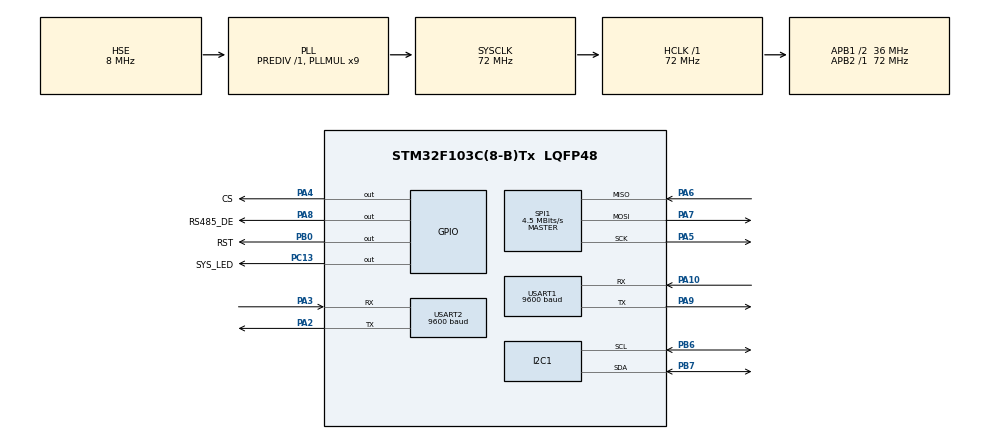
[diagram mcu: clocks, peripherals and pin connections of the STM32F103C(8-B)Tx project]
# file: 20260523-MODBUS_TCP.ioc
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Dma.Request0=USART1_RX
Dma.USART1_RX.0.Direction=DMA_PERIPH_TO_MEMORY
Dma.USART1_RX.0.Instance=DMA1_Channel5
Dma.USART1_RX.0.MemDataAlignment=DMA_MDATAALIGN_BYTE
Dma.USART1_RX.0.MemInc=DMA_MINC_ENABLE
Dma.USART1_RX.0.Mode=DMA_CIRCULAR
Dma.USART1_RX.0.PeriphDataAlignment=DMA_PDATAALIGN_BYTE
Dma.USART1_RX.0.PeriphInc=DMA_PINC_DISABLE
Dma.USART1_RX.0.Priority=DMA_PRIORITY_LOW
FREERTOS.Tasks01=defaultTask,0,128,StartDefaultTask,Default,NULL,Dynamic,NULL,NULL
FREERTOS.configUSE_NEWLIB_REENTRANT=1
I2C1.I2C_Mode=I2C_Fast
Mcu.Family=STM32F1
Mcu.Name=STM32F103C(8-B)Tx
Mcu.Package=LQFP48
NVIC.DMA1_Channel5_IRQn=true\:5\:0\:false\:false\:true\:true\:false\:true\:true
NVIC.PriorityGroup=NVIC_PRIORITYGROUP_4
NVIC.TIM4_IRQn=true\:15\:0\:false\:false\:true\:false\:false\:true\:true
NVIC.TimeBase=TIM4_IRQn
NVIC.TimeBaseIP=TIM4
NVIC.USART1_IRQn=true\:5\:0\:false\:false\:true\:true\:true\:true\:true
PA10.Mode=Asynchronous
PA10.Signal=USART1_RX
PA13.Mode=Serial_Wire
PA13.Signal=SYS_JTMS-SWDIO
PA14.Mode=Serial_Wire
PA14.Signal=SYS_JTCK-SWCLK
PA2.Mode=Asynchronous
PA2.Signal=USART2_TX
PA3.Mode=Asynchronous
PA3.Signal=USART2_RX
PA4.GPIO_Label=CS
PA4.GPIO_Speed=GPIO_SPEED_FREQ_HIGH
PA4.Signal=GPIO_Output
PA5.Mode=Full_Duplex_Master
PA5.Signal=SPI1_SCK
PA6.Mode=Full_Duplex_Master
PA6.Signal=SPI1_MISO
PA7.Mode=Full_Duplex_Master
PA7.Signal=SPI1_MOSI
PA8.GPIO_Label=RS485_DE
PA8.Signal=GPIO_Output
PA9.Mode=Asynchronous
PA9.Signal=USART1_TX
PB0.GPIO_Label=RST
PB0.Signal=GPIO_Output
PB6.Mode=I2C
PB6.Signal=I2C1_SCL
PB7.Mode=I2C
PB7.Signal=I2C1_SDA
PC13-TAMPER-RTC.GPIO_Label=SYS_LED
PC13-TAMPER-RTC.Signal=GPIO_Output
PD0-OSC_IN.Mode=HSE-External-Oscillator
PD0-OSC_IN.Signal=RCC_OSC_IN
PD1-OSC_OUT.Mode=HSE-External-Oscillator
PD1-OSC_OUT.Signal=RCC_OSC_OUT
ProjectManager.HeapSize=0x200
ProjectManager.StackSize=0x400
ProjectManager.TargetToolchain=STM32CubeIDE
RCC.AHBFreq_Value=72000000
RCC.APB1CLKDivider=RCC_HCLK_DIV2
RCC.APB1Freq_Value=36000000
RCC.APB1TimFreq_Value=72000000
RCC.APB2Freq_Value=72000000
RCC.APB2TimFreq_Value=72000000
RCC.HCLKFreq_Value=72000000
RCC.PLLMUL=RCC_PLL_MUL9
RCC.PLLSourceVirtual=RCC_PLLSOURCE_HSE
RCC.SYSCLKFreq_VALUE=72000000
RCC.SYSCLKSource=RCC_SYSCLKSOURCE_PLLCLK
RCC.USBFreq_Value=72000000
SPI1.BaudRatePrescaler=SPI_BAUDRATEPRESCALER_16
SPI1.CalculateBaudRate=4.5 MBits/s
SPI1.Direction=SPI_DIRECTION_2LINES
SPI1.Mode=SPI_MODE_MASTER
SPI1.VirtualType=VM_MASTER
USART1.BaudRate=9600
USART1.VirtualMode=VM_ASYNC
USART2.BaudRate=9600
USART2.VirtualMode=VM_ASYNC
VP_FREERTOS_VS_CMSIS_V1.Mode=CMSIS_V1
VP_SYS_VS_tim4.Mode=TIM4
board=custom

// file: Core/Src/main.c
/* USER CODE BEGIN Header */
/**
  ******************************************************************************
  * @file           : main.c
  * @brief          : Main program body
  ******************************************************************************
  * @attention
  *
  * Copyright (c) 2023 STMicroelectronics.
  * All rights reserved.
  *
  * This software is licensed under terms that can be found in the LICENSE file
  * in the root directory of this software component.
  * If no LICENSE file comes with this software, it is provided AS-IS.
  *
  ******************************************************************************
  */
/* USER CODE END Header */
#include "main.h"
#include "cmsis_os.h"

/* USER CODE BEGIN Includes */
#include <stdio.h>
#include "FreeRTOS.h"
#include "task.h"
#include "semphr.h"
#include "app_tasks.h"
#include "fonts.h"
#include "ssd1306.h"

/* ioLibrary — Ethernet core */
#include "wizchip_conf.h"   // ctlwizchip, ctlnetwork
#include "socket.h"         // socket, listen, recv, send, close, getSn_SR, getSn_RX_RSR

/* Tu port layer */
#include "w5500_port.h"     // w5500_port_init

#include "modbus_crc.h"
#include "modbus_registers.h"
#include "modbus_uart.h"
#include "spfd5408.h"

/* USER CODE END Includes */

I2C_HandleTypeDef hi2c1;

SPI_HandleTypeDef hspi1;

UART_HandleTypeDef huart1;
UART_HandleTypeDef huart2;
DMA_HandleTypeDef hdma_usart1_rx;

osThreadId defaultTaskHandle;
/* USER CODE BEGIN PV */
SemaphoreHandle_t g_uart_mutex;
/* USER CODE END PV */

void SystemClock_Config(void);
static void MX_GPIO_Init(void);
static void MX_DMA_Init(void);
static void MX_USART2_UART_Init(void);
static void MX_I2C1_Init(void);
static void MX_SPI1_Init(void);
static void MX_USART1_UART_Init(void);
void StartDefaultTask(void const * argument);

/* USER CODE BEGIN PFP */
#define PUTCHAR_PROTOTYPE int __io_putchar(int ch)

/* USER CODE END PFP */

int main(void)
{

  /* MCU Configuration--------------------------------------------------------*/

  /* Reset of all peripherals, Initializes the Flash interface and the Systick. */
  HAL_Init();

  /* Configure the system clock */
  SystemClock_Config();

  /* Initialize all configured peripherals */
  MX_GPIO_Init();
  MX_DMA_Init();
  MX_USART2_UART_Init();
  MX_I2C1_Init();
  MX_SPI1_Init();
  MX_USART1_UART_Init();
  /* USER CODE BEGIN 2 */

  for(uint8_t i = 1; i <= 10; i++)
  {
	  HAL_GPIO_TogglePin(GPIOC, GPIO_PIN_13);
	  HAL_Delay(100);
  }

  HAL_GPIO_WritePin(CS_GPIO_Port, CS_Pin, GPIO_PIN_SET);
  HAL_GPIO_WritePin(RST_GPIO_Port, RST_Pin, GPIO_PIN_SET);

  w5500_port_init();

  uint8_t ver = getVERSIONR();
  if(ver != 0x04) Error_Handler();

  // Parpadeá ver veces para ver qué valor devuelve
  for(uint8_t i = 0; i < ver; i++)
  {
      HAL_GPIO_TogglePin(GPIOC, GPIO_PIN_13);
      HAL_Delay(300);
      HAL_GPIO_TogglePin(GPIOC, GPIO_PIN_13);
      HAL_Delay(300);
  }

  HAL_Delay(2000);  // pausa para distinguir el resultado

//
//  while(1)
//  {
//      if(getSn_SR(0) == SOCK_ESTABLISHED)
//      {
//          uint16_t len = getSn_RX_RSR(0);  // bytes disponibles
//          if(len > 0)
//          {
//              uint8_t buf[128];
//              recv(0, buf, len);
//              // acá va el parseo Modbus — por ahora solo eco
//              send(0, buf, len);
//          }
//      }
//      HAL_Delay(10);
//  }

  /* USER CODE END 2 */

  /* Create the thread(s) */
  /* definition and creation of defaultTask */
//  osThreadDef(defaultTask, StartDefaultTask, osPriorityNormal, 0, 128);
//  defaultTaskHandle = osThreadCreate(osThread(defaultTask), NULL);

  /* USER CODE BEGIN RTOS_THREADS */
  tasks_create();

  /* USER CODE END RTOS_THREADS */

  /* Start scheduler */
  vTaskStartScheduler();

  /* We should never get here as control is now taken by the scheduler */

  /* Infinite loop */
  while (1)
  {

  }
}

void SystemClock_Config(void)
{
  RCC_OscInitTypeDef RCC_OscInitStruct = {0};
  RCC_ClkInitTypeDef RCC_ClkInitStruct = {0};

  /** Initializes the RCC Oscillators according to the specified parameters
  * in the RCC_OscInitTypeDef structure.
  */
  RCC_OscInitStruct.OscillatorType = RCC_OSCILLATORTYPE_HSE;
  RCC_OscInitStruct.HSEState = RCC_HSE_ON;
  RCC_OscInitStruct.HSEPredivValue = RCC_HSE_PREDIV_DIV1;
  RCC_OscInitStruct.HSIState = RCC_HSI_ON;
  RCC_OscInitStruct.PLL.PLLState = RCC_PLL_ON;
  RCC_OscInitStruct.PLL.PLLSource = RCC_PLLSOURCE_HSE;
  RCC_OscInitStruct.PLL.PLLMUL = RCC_PLL_MUL9;
  if (HAL_RCC_OscConfig(&RCC_OscInitStruct) != HAL_OK)
  {
    Error_Handler();
  }

  /** Initializes the CPU, AHB and APB buses clocks
  */
  RCC_ClkInitStruct.ClockType = RCC_CLOCKTYPE_HCLK|RCC_CLOCKTYPE_SYSCLK
                              |RCC_CLOCKTYPE_PCLK1|RCC_CLOCKTYPE_PCLK2;
  RCC_ClkInitStruct.SYSCLKSource = RCC_SYSCLKSOURCE_PLLCLK;
  RCC_ClkInitStruct.AHBCLKDivider = RCC_SYSCLK_DIV1;
  RCC_ClkInitStruct.APB1CLKDivider = RCC_HCLK_DIV2;
  RCC_ClkInitStruct.APB2CLKDivider = RCC_HCLK_DIV1;

  if (HAL_RCC_ClockConfig(&RCC_ClkInitStruct, FLASH_LATENCY_2) != HAL_OK)
  {
    Error_Handler();
  }
}

static void MX_I2C1_Init(void)
{

  hi2c1.Instance = I2C1;
  hi2c1.Init.ClockSpeed = 400000;
  hi2c1.Init.DutyCycle = I2C_DUTYCYCLE_2;
  hi2c1.Init.OwnAddress1 = 0;
  hi2c1.Init.AddressingMode = I2C_ADDRESSINGMODE_7BIT;
  hi2c1.Init.DualAddressMode = I2C_DUALADDRESS_DISABLE;
  hi2c1.Init.OwnAddress2 = 0;
  hi2c1.Init.GeneralCallMode = I2C_GENERALCALL_DISABLE;
  hi2c1.Init.NoStretchMode = I2C_NOSTRETCH_DISABLE;
  if (HAL_I2C_Init(&hi2c1) != HAL_OK)
  {
    Error_Handler();
  }

}

static void MX_SPI1_Init(void)
{

  /* SPI1 parameter configuration*/
  hspi1.Instance = SPI1;
  hspi1.Init.Mode = SPI_MODE_MASTER;
  hspi1.Init.Direction = SPI_DIRECTION_2LINES;
  hspi1.Init.DataSize = SPI_DATASIZE_8BIT;
  hspi1.Init.CLKPolarity = SPI_POLARITY_LOW;
  hspi1.Init.CLKPhase = SPI_PHASE_1EDGE;
  hspi1.Init.NSS = SPI_NSS_SOFT;
  hspi1.Init.BaudRatePrescaler = SPI_BAUDRATEPRESCALER_16;
  hspi1.Init.FirstBit = SPI_FIRSTBIT_MSB;
  hspi1.Init.TIMode = SPI_TIMODE_DISABLE;
  hspi1.Init.CRCCalculation = SPI_CRCCALCULATION_DISABLE;
  hspi1.Init.CRCPolynomial = 10;
  if (HAL_SPI_Init(&hspi1) != HAL_OK)
  {
    Error_Handler();
  }

}

static void MX_USART1_UART_Init(void)
{

  huart1.Instance = USART1;
  huart1.Init.BaudRate = 9600;
  huart1.Init.WordLength = UART_WORDLENGTH_8B;
  huart1.Init.StopBits = UART_STOPBITS_1;
  huart1.Init.Parity = UART_PARITY_NONE;
  huart1.Init.Mode = UART_MODE_TX_RX;
  huart1.Init.HwFlowCtl = UART_HWCONTROL_NONE;
  huart1.Init.OverSampling = UART_OVERSAMPLING_16;
  if (HAL_UART_Init(&huart1) != HAL_OK)
  {
    Error_Handler();
  }

}

static void MX_USART2_UART_Init(void)
{

  huart2.Instance = USART2;
  huart2.Init.BaudRate = 9600;
  huart2.Init.WordLength = UART_WORDLENGTH_8B;
  huart2.Init.StopBits = UART_STOPBITS_1;
  huart2.Init.Parity = UART_PARITY_NONE;
  huart2.Init.Mode = UART_MODE_TX_RX;
  huart2.Init.HwFlowCtl = UART_HWCONTROL_NONE;
  huart2.Init.OverSampling = UART_OVERSAMPLING_16;
  if (HAL_UART_Init(&huart2) != HAL_OK)
  {
    Error_Handler();
  }

}

static void MX_DMA_Init(void)
{

  /* DMA controller clock enable */
  __HAL_RCC_DMA1_CLK_ENABLE();

  /* DMA interrupt init */
  /* DMA1_Channel5_IRQn interrupt configuration */
  HAL_NVIC_SetPriority(DMA1_Channel5_IRQn, 5, 0);
  HAL_NVIC_EnableIRQ(DMA1_Channel5_IRQn);

}

static void MX_GPIO_Init(void)
{
  GPIO_InitTypeDef GPIO_InitStruct = {0};
  /* USER CODE BEGIN MX_GPIO_Init_1 */
  HAL_GPIO_WritePin(CS_GPIO_Port, CS_Pin, GPIO_PIN_SET);    // CS inactivo
  HAL_GPIO_WritePin(RST_GPIO_Port, RST_Pin, GPIO_PIN_SET);  // RST inactivo
  /* USER CODE END MX_GPIO_Init_1 */

  /* GPIO Ports Clock Enable */
  __HAL_RCC_GPIOC_CLK_ENABLE();
  __HAL_RCC_GPIOD_CLK_ENABLE();
  __HAL_RCC_GPIOA_CLK_ENABLE();
  __HAL_RCC_GPIOB_CLK_ENABLE();

  /*Configure GPIO pin Output Level */
  HAL_GPIO_WritePin(SYS_LED_GPIO_Port, SYS_LED_Pin, GPIO_PIN_RESET);

  /*Configure GPIO pin Output Level */
  HAL_GPIO_WritePin(GPIOA, CS_Pin|RS485_DE_Pin, GPIO_PIN_RESET);

  /*Configure GPIO pin Output Level */
  HAL_GPIO_WritePin(RST_GPIO_Port, RST_Pin, GPIO_PIN_RESET);

  /*Configure GPIO pin : SYS_LED_Pin */
  GPIO_InitStruct.Pin = SYS_LED_Pin;
  GPIO_InitStruct.Mode = GPIO_MODE_OUTPUT_PP;
  GPIO_InitStruct.Pull = GPIO_NOPULL;
  GPIO_InitStruct.Speed = GPIO_SPEED_FREQ_LOW;
  HAL_GPIO_Init(SYS_LED_GPIO_Port, &GPIO_InitStruct);

  /*Configure GPIO pin : CS_Pin */
  GPIO_InitStruct.Pin = CS_Pin;
  GPIO_InitStruct.Mode = GPIO_MODE_OUTPUT_PP;
  GPIO_InitStruct.Pull = GPIO_NOPULL;
  GPIO_InitStruct.Speed = GPIO_SPEED_FREQ_HIGH;
  HAL_GPIO_Init(CS_GPIO_Port, &GPIO_InitStruct);

  /*Configure GPIO pin : RST_Pin */
  GPIO_InitStruct.Pin = RST_Pin;
  GPIO_InitStruct.Mode = GPIO_MODE_OUTPUT_PP;
  GPIO_InitStruct.Pull = GPIO_NOPULL;
  GPIO_InitStruct.Speed = GPIO_SPEED_FREQ_LOW;
  HAL_GPIO_Init(RST_GPIO_Port, &GPIO_InitStruct);

  /*Configure GPIO pin : RS485_DE_Pin */
  GPIO_InitStruct.Pin = RS485_DE_Pin;
  GPIO_InitStruct.Mode = GPIO_MODE_OUTPUT_PP;
  GPIO_InitStruct.Pull = GPIO_NOPULL;
  GPIO_InitStruct.Speed = GPIO_SPEED_FREQ_LOW;
  HAL_GPIO_Init(RS485_DE_GPIO_Port, &GPIO_InitStruct);

}

/* USER CODE BEGIN 4 */

/**
  * @brief  Retargets the C library printf function to the USART.
  * @param  None
  * @retval None
  */
PUTCHAR_PROTOTYPE
{
  /* Place your implementation of fputc here */
  /* e.g. write a character to the USART1 and Loop until the end of transmission */
  HAL_UART_Transmit(&huart2, (uint8_t *)&ch, 1, 0xFFFF);

  return ch;
}

/* USER CODE END 4 */

void StartDefaultTask(void const * argument)
{
  for(;;)
  {
    osDelay(1);
  }
}

void HAL_TIM_PeriodElapsedCallback(TIM_HandleTypeDef *htim)
{
  if (htim->Instance == TIM4)
  {
    HAL_IncTick();
  }
}

void Error_Handler(void)
{
  /* USER CODE BEGIN Error_Handler_Debug */
  /* User can add his own implementation to report the HAL error return state */
//  __disable_irq();
  while (1)
  {
	  HAL_GPIO_TogglePin(GPIOC, GPIO_PIN_13);
	  HAL_Delay(50);
  }
  /* USER CODE END Error_Handler_Debug */
}
